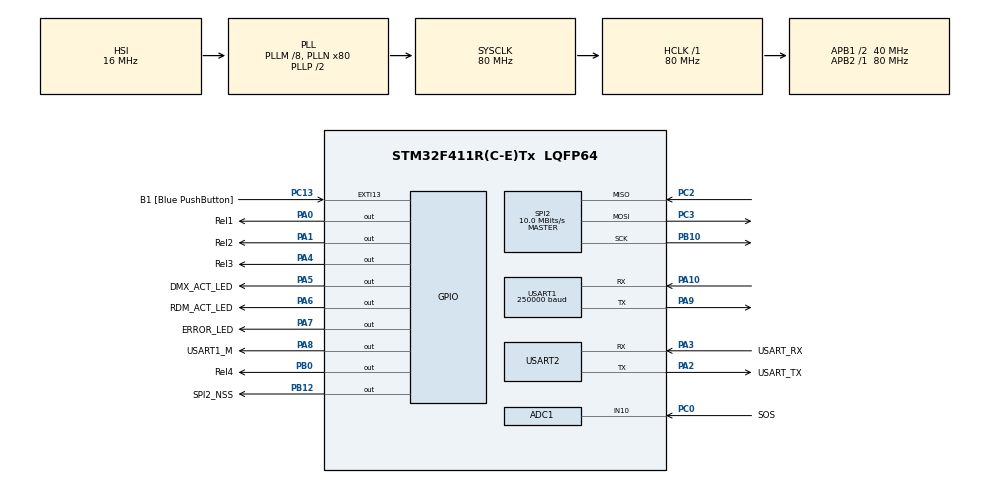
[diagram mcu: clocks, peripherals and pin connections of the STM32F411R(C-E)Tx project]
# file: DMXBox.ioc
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ADC1.Channel-0\#ChannelRegularConversion=ADC_CHANNEL_10
ADC1.NbrOfConversionFlag=1
ADC1.Rank-0\#ChannelRegularConversion=1
ADC1.SamplingTime-0\#ChannelRegularConversion=ADC_SAMPLETIME_3CYCLES
ADC1.master=1
Dma.Request0=USART1_RX
Dma.USART1_RX.0.Direction=DMA_PERIPH_TO_MEMORY
Dma.USART1_RX.0.FIFOMode=DMA_FIFOMODE_DISABLE
Dma.USART1_RX.0.Instance=DMA2_Stream2
Dma.USART1_RX.0.MemDataAlignment=DMA_MDATAALIGN_BYTE
Dma.USART1_RX.0.MemInc=DMA_MINC_ENABLE
Dma.USART1_RX.0.Mode=DMA_NORMAL
Dma.USART1_RX.0.PeriphDataAlignment=DMA_PDATAALIGN_BYTE
Dma.USART1_RX.0.PeriphInc=DMA_PINC_DISABLE
Dma.USART1_RX.0.Priority=DMA_PRIORITY_LOW
Mcu.Family=STM32F4
Mcu.Name=STM32F411R(C-E)Tx
Mcu.Package=LQFP64
NVIC.DMA2_Stream2_IRQn=true\:0\:0\:false\:false\:true\:false\:true
NVIC.PriorityGroup=NVIC_PRIORITYGROUP_0
NVIC.USART1_IRQn=true\:0\:0\:false\:false\:true\:true\:true
PA0-WKUP.GPIO_Label=Rel1
PA0-WKUP.PinState=GPIO_PIN_SET
PA0-WKUP.Signal=GPIO_Output
PA1.GPIO_Label=Rel2
PA1.PinState=GPIO_PIN_SET
PA1.Signal=GPIO_Output
PA10.Mode=Asynchronous
PA10.Signal=USART1_RX
PA13.GPIO_Label=TMS
PA13.Mode=Serial_Wire
PA13.Signal=SYS_JTMS-SWDIO
PA14.GPIO_Label=TCK
PA14.Mode=Serial_Wire
PA14.Signal=SYS_JTCK-SWCLK
PA2.GPIO_Label=USART_TX
PA2.Mode=Asynchronous
PA2.Signal=USART2_TX
PA3.GPIO_Label=USART_RX
PA3.Mode=Asynchronous
PA3.Signal=USART2_RX
PA4.GPIO_Label=Rel3
PA4.PinState=GPIO_PIN_SET
PA4.Signal=GPIO_Output
PA5.GPIO_Label=DMX_ACT_LED
PA5.Signal=GPIO_Output
PA6.GPIO_Label=RDM_ACT_LED
PA6.Signal=GPIO_Output
PA7.GPIO_Label=ERROR_LED
PA7.Signal=GPIO_Output
PA8.GPIO_Label=USART1_M
PA8.Signal=GPIO_Output
PA9.Mode=Asynchronous
PA9.Signal=USART1_TX
PB0.GPIO_Label=Rel4
PB0.PinState=GPIO_PIN_SET
PB0.Signal=GPIO_Output
PB10.Mode=Full_Duplex_Master
PB10.Signal=SPI2_SCK
PB12.GPIO_Label=SPI2_NSS
PB12.Signal=GPIO_Output
PB3.GPIO_Label=SWO
PB3.Signal=SYS_JTDO-SWO
PC0.GPIO_Label=SOS
PC0.Signal=ADCx_IN10
PC13-ANTI_TAMP.GPIO_Label=B1 [Blue PushButton]
PC13-ANTI_TAMP.GPIO_ModeDefaultEXTI=GPIO_MODE_IT_FALLING
PC13-ANTI_TAMP.Signal=GPXTI13
PC14-OSC32_IN.Mode=LSE-External-Oscillator
PC14-OSC32_IN.Signal=RCC_OSC32_IN
PC15-OSC32_OUT.Mode=LSE-External-Oscillator
PC15-OSC32_OUT.Signal=RCC_OSC32_OUT
PC2.Mode=Full_Duplex_Master
PC2.Signal=SPI2_MISO
PC3.Mode=Full_Duplex_Master
PC3.Signal=SPI2_MOSI
PH0\ -\ OSC_IN.Mode=HSE-External-Clock-Source
PH0\ -\ OSC_IN.Signal=RCC_OSC_IN
PH1\ -\ OSC_OUT.Mode=HSE-External-Clock-Source
PH1\ -\ OSC_OUT.Signal=RCC_OSC_OUT
ProjectManager.HeapSize=0x200
ProjectManager.StackSize=0x400
ProjectManager.TargetToolchain=Makefile
RCC.48MHZClocksFreq_Value=40000000
RCC.AHBFreq_Value=80000000
RCC.APB1CLKDivider=RCC_HCLK_DIV2
RCC.APB1Freq_Value=40000000
RCC.APB1TimFreq_Value=80000000
RCC.APB2Freq_Value=80000000
RCC.APB2TimFreq_Value=80000000
RCC.CortexFreq_Value=80000000
RCC.FLatency-AdvancedSettings=FLASH_LATENCY_2
RCC.HCLKFreq_Value=80000000
RCC.HSE_VALUE=8000000
RCC.HSI_VALUE=16000000
RCC.PLLM=8
RCC.PLLN=80
RCC.SYSCLKFreq_VALUE=80000000
RCC.SYSCLKSource=RCC_SYSCLKSOURCE_PLLCLK
RCC.VCOOutputFreq_Value=160000000
SH.ADCx_IN10.0=ADC1_IN10,IN10
SPI2.BaudRatePrescaler=SPI_BAUDRATEPRESCALER_4
SPI2.CalculateBaudRate=10.0 MBits/s
SPI2.Direction=SPI_DIRECTION_2LINES
SPI2.Mode=SPI_MODE_MASTER
SPI2.VirtualType=VM_MASTER
USART1.BaudRate=250000
USART1.StopBits=STOPBITS_1
USART1.VirtualMode=VM_ASYNC
USART1.WordLength=WORDLENGTH_9B
USART2.VirtualMode=VM_ASYNC
board=NUCLEO-F411RE

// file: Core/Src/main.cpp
/* USER CODE BEGIN Header */
/**
  ******************************************************************************
  * @file           : main.c
  * @brief          : Main program body
  ******************************************************************************
  * @attention
  *
  * <h2><center>&copy; Copyright (c) 2021 STMicroelectronics.
  * All rights reserved.</center></h2>
  *
  * This software component is licensed by ST under BSD 3-Clause license,
  * the "License"; You may not use this file except in compliance with the
  * License. You may obtain a copy of the License at:
  *                        opensource.org/licenses/BSD-3-Clause
  *
  ******************************************************************************
  */
/* USER CODE END Header */
#include "main.h"
#include "adc.h"
#include "dma.h"
#include "spi.h"
#include "usart.h"
#include "gpio.h"

/* USER CODE BEGIN Includes */
#include <algorithm>
/* USER CODE END Includes */

void SystemClock_Config(void);

/* USER CODE BEGIN 0 */

uint8_t write_operation(uint8_t addr, uint8_t reg_addr, uint8_t content)
{

  // Check for invalid address
  if (addr > 0x03)
    return 0;

  // Check for invalid register address
  if (reg_addr > 0x0A)
    return 0;

  uint8_t OpCode = 0x40;

  // Set the address
  OpCode |= (addr << 1);

  HAL_GPIO_WritePin(SPI2_NSS_GPIO_Port, SPI2_NSS_Pin, GPIO_PIN_RESET);
  HAL_SPI_Transmit(&hspi2, &OpCode, 1, 100);
  HAL_SPI_Transmit(&hspi2, &reg_addr, 1, 100);
  HAL_SPI_Transmit(&hspi2, &content, 1, 100);
  HAL_GPIO_WritePin(SPI2_NSS_GPIO_Port, SPI2_NSS_Pin, GPIO_PIN_SET);

  return 1;
}
// uint8_t *content
uint8_t read_operation(uint8_t addr, uint8_t reg_addr)
{
  // Check for invalid address
  if (addr > 0x03)
    return 0;

  // Check for invalid register address
  if (reg_addr > 0x0A)
    return 0;

  uint8_t content;
  uint8_t OpCode = 0x41;

  // Set the address
  OpCode |= (addr << 1);

  HAL_GPIO_WritePin(SPI2_NSS_GPIO_Port, SPI2_NSS_Pin, GPIO_PIN_RESET);
  HAL_SPI_Transmit(&hspi2, &OpCode, 1, 100);
  HAL_SPI_Transmit(&hspi2, &reg_addr, 1, 100);
  HAL_SPI_Receive(&hspi2, &content, 1, 100);
  HAL_GPIO_WritePin(SPI2_NSS_GPIO_Port, SPI2_NSS_Pin, GPIO_PIN_SET);

  return content;
}

uint8_t RxBuffer[513]; // Buffer to write received bytes to with DMA
int errorCode;
volatile int otherError;
bool dmxActivity = false;
bool rdmActivity = false;

void toggleBasedOnDmx(GPIO_TypeDef *GPIOx, uint16_t GPIO_Pin, int DmxChannel, GPIO_PinState LOW = GPIO_PIN_RESET, GPIO_PinState HIGH = GPIO_PIN_SET, int Threshold = 127)
{ // generic function to toggle any GPIO Pin based on the DMX Channels Value, High/Low Values and Threshold
  if (RxBuffer[DmxChannel] >= Threshold)
  {
    HAL_GPIO_WritePin(GPIOx, GPIO_Pin, HIGH);
  }
  else
  {
    HAL_GPIO_WritePin(GPIOx, GPIO_Pin, LOW);
  }
}

void ParseDMX()
{
  dmxActivity = true;
  toggleBasedOnDmx(Rel1_GPIO_Port, Rel1_Pin, 1, GPIO_PIN_SET, GPIO_PIN_RESET); // Relais 1
  toggleBasedOnDmx(Rel2_GPIO_Port, Rel2_Pin, 2, GPIO_PIN_SET, GPIO_PIN_RESET); // Relais 2
  toggleBasedOnDmx(Rel3_GPIO_Port, Rel3_Pin, 3, GPIO_PIN_SET, GPIO_PIN_RESET); // Relais 3
  toggleBasedOnDmx(Rel4_GPIO_Port, Rel4_Pin, 4, GPIO_PIN_SET, GPIO_PIN_RESET); // Relais 4
}

void ParseRDM()
{
  uint8_t *rdmPacket = new uint8_t[RxBuffer[2] + 2];
  std::copy_n(RxBuffer, RxBuffer[2] + 2, rdmPacket);
  int dataLength = rdmPacket[2];
  volatile int packetLength = dataLength + 2;
  UNUSED(packetLength);
  rdmActivity = true;
}

void ParsePacket(bool parseDMX = false)
{
  if (errorCode != 4)
  {
    otherError = errorCode; // Display Noise Error / DMX Signal Weak to user if occurs multiple times
    return;                 // Expecting to have had framing error before packet content was read
  }

  if (parseDMX && RxBuffer[0] == 0)
    ParseDMX(); // Parsing DMX if Startbyte == 0
  if (RxBuffer[0] == 204 && RxBuffer[1] == 1)
    ParseRDM(); // Parsing RDM if Startbyte == 204
}

void HAL_UART_ErrorCallback(UART_HandleTypeDef *huart) // executed for any error - normally terminating receive
{
  errorCode = huart->ErrorCode;

  ParsePacket();

  HAL_UART_Receive_DMA(&huart1, RxBuffer, 513); // Receiving next full DMX Packet in sync with buffer
}

void HAL_UART_RxCpltCallback(UART_HandleTypeDef *huart) // executed when all 513 bytes have been sucessfully read into buffer
{
  ParsePacket(true);

  HAL_UART_Receive_DMA(&huart1, RxBuffer, 513); // Receiving next DMX Packet
}

void signalActivityOnLed(GPIO_TypeDef *GPIOx, uint16_t GPIO_Pin, bool &xActivity)
{
  HAL_GPIO_WritePin(GPIOx, GPIO_Pin, GPIO_PIN_SET);
  xActivity = false;
}

/* USER CODE END 0 */

int main(void)
{

  /* MCU Configuration--------------------------------------------------------*/

  /* Reset of all peripherals, Initializes the Flash interface and the Systick. */
  HAL_Init();

  /* Configure the system clock */
  SystemClock_Config();

  /* Initialize all configured peripherals */
  MX_GPIO_Init();
  MX_DMA_Init();
  MX_USART1_UART_Init();
  MX_USART2_UART_Init();
  MX_SPI2_Init();
  MX_ADC1_Init();
  /* USER CODE BEGIN 2 */

  uint8_t chip_addr1 = 0x00;
  uint8_t chip_addr2 = 0x01;
  uint8_t is_output = 1;

  uint8_t IO_DIR_REG = 0x00;
  uint8_t set_output = 0x00;

  if (write_operation(chip_addr1, IO_DIR_REG, set_output) == 0 || write_operation(chip_addr2, IO_DIR_REG, set_output) == 0) is_output = 0;

  uint8_t CONFIG_REG = 0x05;
  uint8_t enable_addresses = 0x08;

  if (write_operation(chip_addr1, CONFIG_REG, enable_addresses) == 0 || write_operation(chip_addr2, CONFIG_REG, enable_addresses) == 0) is_output = 0;

  HAL_GPIO_WritePin(USART1_M_GPIO_Port, USART1_M_Pin, GPIO_PIN_RESET); // setting Mode Pin Low to put ADM into read mode
  HAL_UART_Receive_DMA(&huart1, RxBuffer, 513);

  /* USER CODE END 2 */

  /* Infinite loop */
  /* USER CODE BEGIN WHILE */

uint8_t GPIO_REG = 0x09;

  uint8_t read_buf = read_operation(chip_addr1, 0x05);
  uint8_t left_bits = read_buf >> 4;
  uint8_t right_bits = read_buf & 0x0F;

  write_operation(chip_addr1, GPIO_REG, left_bits);
  write_operation(chip_addr2, GPIO_REG, right_bits);
  HAL_Delay(5000);

  write_operation(chip_addr1, GPIO_REG, 0x00);
  write_operation(chip_addr2, GPIO_REG, 0x00);

  uint32_t analog_value = 0;

  while (1)
  {
    /* USER CODE END WHILE */

    /* USER CODE BEGIN 3 */
    // if (dmxActivity)
    //   signalActivityOnLed(DMX_ACT_LED_GPIO_Port, DMX_ACT_LED_Pin, dmxActivity);
    // if (rdmActivity)
    //   signalActivityOnLed(RDM_ACT_LED_GPIO_Port, RDM_ACT_LED_Pin, rdmActivity);
    // HAL_Delay(50);
    // HAL_GPIO_WritePin(DMX_ACT_LED_GPIO_Port, DMX_ACT_LED_Pin, GPIO_PIN_RESET);
    // HAL_GPIO_WritePin(RDM_ACT_LED_GPIO_Port, RDM_ACT_LED_Pin, GPIO_PIN_RESET);
    HAL_ADC_Start(&hadc1);
    if (HAL_ADC_PollForConversion(&hadc1, 10) == HAL_OK) {
      analog_value = HAL_ADC_GetValue(&hadc1);
    }
    HAL_ADC_Stop(&hadc1);

    if (analog_value > 2250) {
      HAL_GPIO_WritePin(Rel1_GPIO_Port, Rel1_Pin, GPIO_PIN_SET);
    } else {
      HAL_GPIO_WritePin(Rel1_GPIO_Port, Rel1_Pin, GPIO_PIN_RESET);
    }
    // HAL_Delay(200);

    // if (write_operation(chip_addr1, GPIO_REG, 0x04) == 0) {
    //   break;
    // }
    // HAL_Delay(200);

    // if (write_operation(chip_addr1, GPIO_REG, 0x02) == 0) {
    //   break;
    // }
    // HAL_Delay(200);
    // if (write_operation(chip_addr1, GPIO_REG, 0x01) == 0) {
    //   break;
    // }
    // HAL_Delay(200);
    // if (write_operation(chip_addr1, GPIO_REG, 0x00) == 0) {
    //   break;
    // }
    // if (write_operation(chip_addr2, GPIO_REG, 0x04) == 0) {
    //   break;
    // }
    // HAL_Delay(200);

    // if (write_operation(chip_addr2, GPIO_REG, 0x02) == 0) {
    //   break;
    // }
    // HAL_Delay(200);
    // if (write_operation(chip_addr2, GPIO_REG, 0x01) == 0) {
    //   break;
    // }
    // HAL_Delay(200);
    // if (write_operation(chip_addr2, GPIO_REG, 0x00) == 0) {
    //   break;
    // }
  }
  /* USER CODE END 3 */
}

void SystemClock_Config(void)
{
  RCC_OscInitTypeDef RCC_OscInitStruct = {0};
  RCC_ClkInitTypeDef RCC_ClkInitStruct = {0};

  /** Configure the main internal regulator output voltage
  */
  __HAL_RCC_PWR_CLK_ENABLE();
  __HAL_PWR_VOLTAGESCALING_CONFIG(PWR_REGULATOR_VOLTAGE_SCALE1);
  /** Initializes the RCC Oscillators according to the specified parameters
  * in the RCC_OscInitTypeDef structure.
  */
  RCC_OscInitStruct.OscillatorType = RCC_OSCILLATORTYPE_HSI;
  RCC_OscInitStruct.HSIState = RCC_HSI_ON;
  RCC_OscInitStruct.HSICalibrationValue = RCC_HSICALIBRATION_DEFAULT;
  RCC_OscInitStruct.PLL.PLLState = RCC_PLL_ON;
  RCC_OscInitStruct.PLL.PLLSource = RCC_PLLSOURCE_HSI;
  RCC_OscInitStruct.PLL.PLLM = 8;
  RCC_OscInitStruct.PLL.PLLN = 80;
  RCC_OscInitStruct.PLL.PLLP = RCC_PLLP_DIV2;
  RCC_OscInitStruct.PLL.PLLQ = 4;
  if (HAL_RCC_OscConfig(&RCC_OscInitStruct) != HAL_OK)
  {
    Error_Handler();
  }
  /** Initializes the CPU, AHB and APB buses clocks
  */
  RCC_ClkInitStruct.ClockType = RCC_CLOCKTYPE_HCLK|RCC_CLOCKTYPE_SYSCLK
                              |RCC_CLOCKTYPE_PCLK1|RCC_CLOCKTYPE_PCLK2;
  RCC_ClkInitStruct.SYSCLKSource = RCC_SYSCLKSOURCE_PLLCLK;
  RCC_ClkInitStruct.AHBCLKDivider = RCC_SYSCLK_DIV1;
  RCC_ClkInitStruct.APB1CLKDivider = RCC_HCLK_DIV2;
  RCC_ClkInitStruct.APB2CLKDivider = RCC_HCLK_DIV1;

  if (HAL_RCC_ClockConfig(&RCC_ClkInitStruct, FLASH_LATENCY_2) != HAL_OK)
  {
    Error_Handler();
  }
}

void Error_Handler(void)
{
  __disable_irq();
  while (1)
  {
  }
}

/************************ (C) COPYRIGHT STMicroelectronics *****END OF FILE****/
